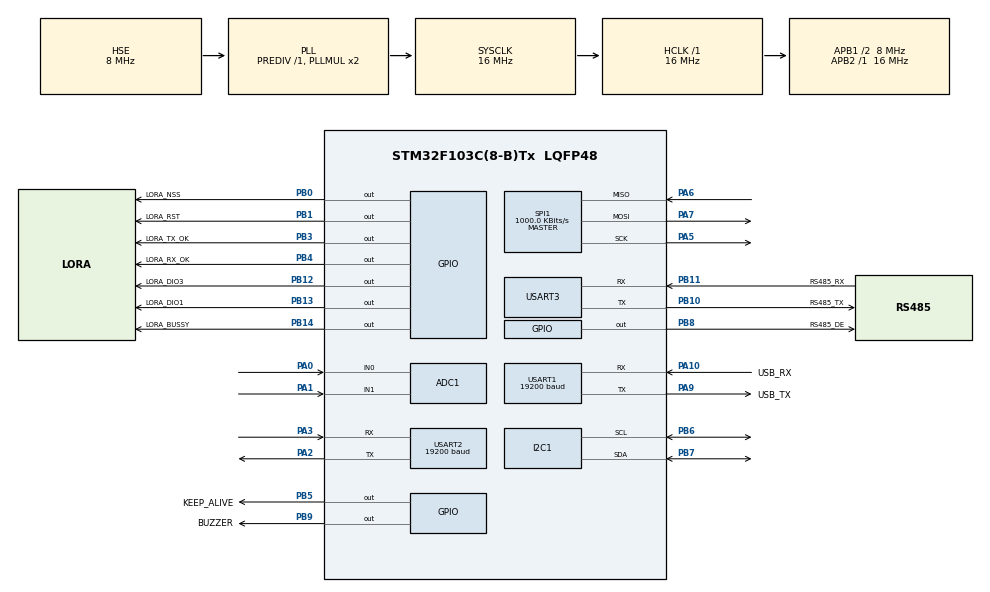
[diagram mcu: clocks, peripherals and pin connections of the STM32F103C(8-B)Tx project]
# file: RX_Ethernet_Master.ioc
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ADC1.Channel-0\#ChannelRegularConversion=ADC_CHANNEL_0
ADC1.Channel-1\#ChannelRegularConversion=ADC_CHANNEL_1
ADC1.Channel-2\#ChannelRegularConversion=ADC_CHANNEL_VREFINT
ADC1.Channel-4\#ChannelRegularConversion=ADC_CHANNEL_0
ADC1.ContinuousConvMode=DISABLE
ADC1.ExternalTrigConv=ADC_SOFTWARE_START
ADC1.NbrOfConversion=4
ADC1.NbrOfConversionFlag=1
ADC1.Rank-0\#ChannelRegularConversion=1
ADC1.Rank-1\#ChannelRegularConversion=2
ADC1.Rank-2\#ChannelRegularConversion=3
ADC1.Rank-4\#ChannelRegularConversion=4
ADC1.SamplingTime-0\#ChannelRegularConversion=ADC_SAMPLETIME_239CYCLES_5
ADC1.SamplingTime-1\#ChannelRegularConversion=ADC_SAMPLETIME_239CYCLES_5
ADC1.SamplingTime-2\#ChannelRegularConversion=ADC_SAMPLETIME_239CYCLES_5
ADC1.SamplingTime-4\#ChannelRegularConversion=ADC_SAMPLETIME_1CYCLE_5
ADC1.master=1
IWDG.Prescaler=IWDG_PRESCALER_32
IWDG.Reload=1875
Mcu.Family=STM32F1
Mcu.Name=STM32F103C(8-B)Tx
Mcu.Package=LQFP48
NVIC.PriorityGroup=NVIC_PRIORITYGROUP_4
NVIC.USART1_IRQn=true\:0\:0\:false\:false\:true\:true\:true\:true
PA0-WKUP.Signal=ADCx_IN0
PA1.Signal=ADCx_IN1
PA10.GPIO_Label=USB_RX
PA10.Mode=Asynchronous
PA10.Signal=USART1_RX
PA13.Mode=Serial_Wire
PA13.Signal=SYS_JTMS-SWDIO
PA14.Mode=Serial_Wire
PA14.Signal=SYS_JTCK-SWCLK
PA2.Mode=Asynchronous
PA2.Signal=USART2_TX
PA3.Mode=Asynchronous
PA3.Signal=USART2_RX
PA5.Mode=Full_Duplex_Master
PA5.Signal=SPI1_SCK
PA6.Mode=Full_Duplex_Master
PA6.Signal=SPI1_MISO
PA7.Mode=Full_Duplex_Master
PA7.Signal=SPI1_MOSI
PA9.GPIO_Label=USB_TX
PA9.Mode=Asynchronous
PA9.Signal=USART1_TX
PB0.GPIO_Label=LORA_NSS
PB0.Signal=GPIO_Output
PB1.GPIO_Label=LORA_RST
PB1.Signal=GPIO_Output
PB10.GPIO_Label=RS485_TX
PB10.Mode=Asynchronous
PB10.Signal=USART3_TX
PB11.GPIO_Label=RS485_RX
PB11.Mode=Asynchronous
PB11.Signal=USART3_RX
PB12.GPIO_Label=LORA_DIO3
PB12.Signal=GPIO_Output
PB13.GPIO_Label=LORA_DIO1
PB13.Signal=GPIO_Output
PB14.GPIO_Label=LORA_BUSSY
PB14.Signal=GPIO_Output
PB3.GPIO_Label=LORA_TX_OK
PB3.Signal=GPIO_Output
PB4.GPIO_Label=LORA_RX_OK
PB4.Signal=GPIO_Output
PB5.GPIO_Label=KEEP_ALIVE
PB5.Signal=GPIO_Output
PB6.Mode=I2C
PB6.Signal=I2C1_SCL
PB7.Mode=I2C
PB7.Signal=I2C1_SDA
PB8.GPIO_Label=RS485_DE
PB8.Signal=GPIO_Output
PB9.GPIO_Label=BUZZER
PB9.Signal=GPIO_Output
PD0-OSC_IN.Mode=HSE-External-Oscillator
PD0-OSC_IN.Signal=RCC_OSC_IN
PD1-OSC_OUT.Mode=HSE-External-Oscillator
PD1-OSC_OUT.Signal=RCC_OSC_OUT
ProjectManager.HeapSize=0x200
ProjectManager.StackSize=0x400
ProjectManager.TargetToolchain=STM32CubeIDE
RCC.AHBFreq_Value=16000000
RCC.APB1CLKDivider=RCC_HCLK_DIV2
RCC.APB1Freq_Value=8000000
RCC.APB1TimFreq_Value=16000000
RCC.APB2Freq_Value=16000000
RCC.APB2TimFreq_Value=16000000
RCC.HCLKFreq_Value=16000000
RCC.PLLSourceVirtual=RCC_PLLSOURCE_HSE
RCC.SYSCLKFreq_VALUE=16000000
RCC.SYSCLKSource=RCC_SYSCLKSOURCE_PLLCLK
RCC.USBFreq_Value=16000000
SH.ADCx_IN0.0=ADC1_IN0,IN0
SH.ADCx_IN1.0=ADC1_IN1,IN1
SPI1.BaudRatePrescaler=SPI_BAUDRATEPRESCALER_16
SPI1.CRCCalculation=SPI_CRCCALCULATION_DISABLE
SPI1.CalculateBaudRate=1000.0 KBits/s
SPI1.Direction=SPI_DIRECTION_2LINES
SPI1.Mode=SPI_MODE_MASTER
SPI1.VirtualType=VM_MASTER
USART1.BaudRate=19200
USART1.VirtualMode=VM_ASYNC
USART2.BaudRate=19200
USART2.VirtualMode=VM_ASYNC
USART3.VirtualMode=VM_ASYNC
VP_ADC1_TempSens_Input.Mode=IN-TempSens
VP_ADC1_Vref_Input.Mode=IN-Vrefint
VP_CRC_VS_CRC.Mode=CRC_Activate
VP_IWDG_VS_IWDG.Mode=IWDG_Activate
board=custom

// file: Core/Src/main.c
/* USER CODE BEGIN Header */
/**
 ******************************************************************************
 * @file           : main.c
 * @brief          : Main program body
 ******************************************************************************
 * @attention
 *
 * Copyright (c) 2022 STMicroelectronics.
 * All rights reserved.
 *
 * This software is licensed under terms that can be found in the LICENSE file
 * in the root directory of this software component.
 * If no LICENSE file comes with this software, it is provided AS-IS.
 *
 ******************************************************************************
 */
/* USER CODE END Header */
#include "main.h"

/* USER CODE BEGIN Includes */
#include "led.h"
#include "rs485.h"
#include "lm75.h"
#include "SX1278.h"
/* USER CODE END Includes */

/* USER CODE BEGIN PTD */
#define HS16_CLK 16000000
#define BAUD_RATE 115200
#define KEEP_ALIVE_INTERVAL 1000
#define KEEP_ALIVE_THRESHOLD 50
#define MCP3421_ADDRESS      0x68  // MCP3421 device address
#define MCP3421_GAIN_1    (0x00 << 0)
#define MCP3421_GAIN_2    (0x01 << 0)
#define MCP3421_GAIN_4    (0x02 << 0)
#define MCP3421_GAIN_8    (0x03 << 0)
#define MCP3421_240SPS    (0x00 << 2)
#define MCP3421_60SPS     (0x01 << 2)
#define MCP3421_15SPS     (0x02 << 2)
#define MCP3421_CONT_CONV (0x00 << 4)
#define ADC_CHANNELS_NUM 2
#define ADC_EXTRA_DATA 1
//#define IWDG_DEBUG

volatile uint16_t adcValues[ADC_CHANNELS_NUM + ADC_EXTRA_DATA];
//#define IWDG_DEBUG
/* USER CODE END PTD */

ADC_HandleTypeDef hadc1;

CRC_HandleTypeDef hcrc;

I2C_HandleTypeDef hi2c1;

IWDG_HandleTypeDef hiwdg;

SPI_HandleTypeDef hspi1;

UART_HandleTypeDef huart1;
UART_HandleTypeDef huart2;
UART_HandleTypeDef huart3;

void SystemClock_Config(void);
static void MX_GPIO_Init(void);
static void MX_I2C1_Init(void);
static void MX_SPI1_Init(void);
static void MX_USART1_UART_Init(void);
static void MX_USART2_UART_Init(void);
static void MX_USART3_UART_Init(void);
static void MX_ADC1_Init(void);
static void MX_CRC_Init(void);
static void MX_IWDG_Init(void);

/* USER CODE BEGIN 0 */
UART_tt *uart1_ptr;
UART_tt *uart2_ptr;
LED_t led;
RDSS_t *rdss;
UART_tt u1;
UART_tt u2;
Vlad_t *vlad;
SX1278_t *loRa;
Server_t *server;
uint8_t rxData;

void HAL_UART_RxCpltCallback(UART_HandleTypeDef *huart);
void HAL_SPI_TxCpltCallback(SPI_HandleTypeDef *hspi);
void HAL_SPI_RxCpltCallback(SPI_HandleTypeDef *hspi);
void print_parameters(UART_tt *u1, Vlad_t vlad);
void printStatus(UART_tt *u1, RDSS_t *rdss);
void printLoRaStatus(UART_tt *u1, SX1278_t *loRa);
uint8_t executeServerCmd(uint8_t *buffer, RDSS_t *rdss, SX1278_t *loRa,
		Server_t *server);
uint8_t executeCommand(uint8_t *buffer, RDSS_t *rdss, SX1278_t *loRa,
		Server_t *server);
void clearRx(UART_tt *u1);
void transmitRdssQuery(RDSS_t *rdss, SX1278_t *loRa);
void processServerCmd(UART_tt *u1, RDSS_t *rdss, SX1278_t *loRa,
		Server_t *server);
void processUartRx(UART_tt *u1, RDSS_t *rdss, Server_t *server, SX1278_t *loRa);
//void processUart2Rx(UART2_t *u2, RDSS_t *rdss, Server_t *server, SX1278_t *loRa);
void masterProcessRdss(RDSS_t *rdss);
void masterProcessLoRaRx(SX1278_t *loRa, RDSS_t *rdss, Vlad_t *vlad);
uint32_t enableKeepAliveLed(uint32_t keepAliveStartTicks);
void configureADC();
void calibrateADC();
void configureGPIO();
void startADCConversion(uint8_t channel);
uint16_t readADCChannel(uint8_t channel);
void updateMasterStatus(RDSS_t *rdss, volatile uint16_t *adcValues,
		uint32_t timeout);

/* USER CODE END 0 */

int main(void)
{
  /* USER CODE BEGIN 1 */

	uart1_ptr = &u1;
	uart2_ptr =&u2;
  /* USER CODE END 1 */

  /* MCU Configuration--------------------------------------------------------*/

  /* Reset of all peripherals, Initializes the Flash interface and the Systick. */
  HAL_Init();

  /* Configure the system clock */
  SystemClock_Config();

  /* Initialize all configured peripherals */
  MX_GPIO_Init();
  MX_I2C1_Init();
  MX_SPI1_Init();
  MX_USART1_UART_Init();
  MX_USART2_UART_Init();
  MX_USART3_UART_Init();
  MX_ADC1_Init();
  MX_CRC_Init();
  //MX_IWDG_Init();
  /* USER CODE BEGIN 2 */
	HAL_GPIO_WritePin(KEEP_ALIVE_GPIO_Port, KEEP_ALIVE_Pin, GPIO_PIN_SET);
	HAL_Delay(1000);
	HAL_GPIO_WritePin(KEEP_ALIVE_GPIO_Port, LORA_TX_OK_Pin, GPIO_PIN_SET);
	HAL_Delay(1000);
	HAL_GPIO_WritePin(KEEP_ALIVE_GPIO_Port, LORA_RX_OK_Pin, GPIO_PIN_SET);
	HAL_Delay(1000);
	vlad = vladInit(SERVER);
	server = serverInit(SERVER);
	ledInit(&led);
	rdss = rdssInit(0);
	loRa = loRaInit(&hspi1, MASTER_RECEIVER);
	if(loRa == NULL)
		Error_Handler();

	lm75_init();
	HAL_NVIC_SetPriority(USART1_IRQn, 0, 0);
	HAL_NVIC_EnableIRQ(USART1_IRQn);
	HAL_UART_Receive_IT(&huart1, &rxData, 1);
	HAL_UART_Receive_IT(&huart2, &rxData, 1);//TODO: Para búsqueda

	configureGPIO();
	configureADC();
	calibrateADC();
	uint32_t keepAliveStartTicks = HAL_GetTick();
	rdss->lastUpdateTicks = HAL_GetTick();
#ifdef IWDG_DEBUG
	HAL_IWDG_Refresh(&hiwdg);
#endif
  /* USER CODE END 2 */

  /* Infinite loop */
  /* USER CODE BEGIN WHILE */
	while (1) {
		adcValues[0] = readADCChannel(0);
		adcValues[1] = readADCChannel(1);
		adcValues[2] = lm75_read();
		updateMasterStatus(rdss, adcValues, 5000);
		processUartRx(&u1, rdss, server, loRa); // TODO: Para búsqueda
		//processUartRx(&u2, rdss, server, loRa);
		configureLoRaRx(loRa, MASTER_RECEIVER);
		masterProcessLoRaRx(loRa, rdss, vlad);

#ifdef IWDG_DEBUG
		HAL_IWDG_Refresh(&hiwdg);
#endif
		keepAliveStartTicks = enableKeepAliveLed(keepAliveStartTicks);
	}
    /* USER CODE END WHILE */

}

void SystemClock_Config(void)
{
  RCC_OscInitTypeDef RCC_OscInitStruct = {0};
  RCC_ClkInitTypeDef RCC_ClkInitStruct = {0};
  RCC_PeriphCLKInitTypeDef PeriphClkInit = {0};

  /** Initializes the RCC Oscillators according to the specified parameters
  * in the RCC_OscInitTypeDef structure.
  */
  RCC_OscInitStruct.OscillatorType = RCC_OSCILLATORTYPE_LSI|RCC_OSCILLATORTYPE_HSE;
  RCC_OscInitStruct.HSEState = RCC_HSE_ON;
  RCC_OscInitStruct.HSEPredivValue = RCC_HSE_PREDIV_DIV1;
  RCC_OscInitStruct.HSIState = RCC_HSI_ON;
  RCC_OscInitStruct.LSIState = RCC_LSI_ON;
  RCC_OscInitStruct.PLL.PLLState = RCC_PLL_ON;
  RCC_OscInitStruct.PLL.PLLSource = RCC_PLLSOURCE_HSE;
  RCC_OscInitStruct.PLL.PLLMUL = RCC_PLL_MUL2;
  if (HAL_RCC_OscConfig(&RCC_OscInitStruct) != HAL_OK)
  {
    Error_Handler();
  }

  /** Initializes the CPU, AHB and APB buses clocks
  */
  RCC_ClkInitStruct.ClockType = RCC_CLOCKTYPE_HCLK|RCC_CLOCKTYPE_SYSCLK
                              |RCC_CLOCKTYPE_PCLK1|RCC_CLOCKTYPE_PCLK2;
  RCC_ClkInitStruct.SYSCLKSource = RCC_SYSCLKSOURCE_PLLCLK;
  RCC_ClkInitStruct.AHBCLKDivider = RCC_SYSCLK_DIV1;
  RCC_ClkInitStruct.APB1CLKDivider = RCC_HCLK_DIV2;
  RCC_ClkInitStruct.APB2CLKDivider = RCC_HCLK_DIV1;

  if (HAL_RCC_ClockConfig(&RCC_ClkInitStruct, FLASH_LATENCY_0) != HAL_OK)
  {
    Error_Handler();
  }
  PeriphClkInit.PeriphClockSelection = RCC_PERIPHCLK_ADC;
  PeriphClkInit.AdcClockSelection = RCC_ADCPCLK2_DIV2;
  if (HAL_RCCEx_PeriphCLKConfig(&PeriphClkInit) != HAL_OK)
  {
    Error_Handler();
  }
}

static void MX_ADC1_Init(void)
{

  ADC_ChannelConfTypeDef sConfig = {0};

  /** Common config
  */
  hadc1.Instance = ADC1;
  hadc1.Init.ScanConvMode = ADC_SCAN_ENABLE;
  hadc1.Init.ContinuousConvMode = DISABLE;
  hadc1.Init.DiscontinuousConvMode = DISABLE;
  hadc1.Init.ExternalTrigConv = ADC_SOFTWARE_START;
  hadc1.Init.DataAlign = ADC_DATAALIGN_RIGHT;
  hadc1.Init.NbrOfConversion = 4;
  if (HAL_ADC_Init(&hadc1) != HAL_OK)
  {
    Error_Handler();
  }

  /** Configure Regular Channel
  */
  sConfig.Channel = ADC_CHANNEL_0;
  sConfig.Rank = ADC_REGULAR_RANK_1;
  sConfig.SamplingTime = ADC_SAMPLETIME_239CYCLES_5;
  if (HAL_ADC_ConfigChannel(&hadc1, &sConfig) != HAL_OK)
  {
    Error_Handler();
  }

  /** Configure Regular Channel
  */
  sConfig.Channel = ADC_CHANNEL_1;
  sConfig.Rank = ADC_REGULAR_RANK_2;
  if (HAL_ADC_ConfigChannel(&hadc1, &sConfig) != HAL_OK)
  {
    Error_Handler();
  }

  /** Configure Regular Channel
  */
  sConfig.Channel = ADC_CHANNEL_VREFINT;
  sConfig.Rank = ADC_REGULAR_RANK_3;
  if (HAL_ADC_ConfigChannel(&hadc1, &sConfig) != HAL_OK)
  {
    Error_Handler();
  }

  /** Configure Regular Channel
  */
  sConfig.Channel = ADC_CHANNEL_0;
  sConfig.Rank = ADC_REGULAR_RANK_4;
  sConfig.SamplingTime = ADC_SAMPLETIME_1CYCLE_5;
  if (HAL_ADC_ConfigChannel(&hadc1, &sConfig) != HAL_OK)
  {
    Error_Handler();
  }

}

static void MX_CRC_Init(void)
{

  hcrc.Instance = CRC;
  if (HAL_CRC_Init(&hcrc) != HAL_OK)
  {
    Error_Handler();
  }

}

static void MX_I2C1_Init(void)
{

  hi2c1.Instance = I2C1;
  hi2c1.Init.ClockSpeed = 100000;
  hi2c1.Init.DutyCycle = I2C_DUTYCYCLE_2;
  hi2c1.Init.OwnAddress1 = 0;
  hi2c1.Init.AddressingMode = I2C_ADDRESSINGMODE_7BIT;
  hi2c1.Init.DualAddressMode = I2C_DUALADDRESS_DISABLE;
  hi2c1.Init.OwnAddress2 = 0;
  hi2c1.Init.GeneralCallMode = I2C_GENERALCALL_DISABLE;
  hi2c1.Init.NoStretchMode = I2C_NOSTRETCH_DISABLE;
  if (HAL_I2C_Init(&hi2c1) != HAL_OK)
  {
    Error_Handler();
  }

}

static void MX_IWDG_Init(void)
{

  hiwdg.Instance = IWDG;
  hiwdg.Init.Prescaler = IWDG_PRESCALER_32;
  hiwdg.Init.Reload = 1875;
  if (HAL_IWDG_Init(&hiwdg) != HAL_OK)
  {
    Error_Handler();
  }

}

static void MX_SPI1_Init(void)
{

  /* SPI1 parameter configuration*/
  hspi1.Instance = SPI1;
  hspi1.Init.Mode = SPI_MODE_MASTER;
  hspi1.Init.Direction = SPI_DIRECTION_2LINES;
  hspi1.Init.DataSize = SPI_DATASIZE_8BIT;
  hspi1.Init.CLKPolarity = SPI_POLARITY_LOW;
  hspi1.Init.CLKPhase = SPI_PHASE_1EDGE;
  hspi1.Init.NSS = SPI_NSS_SOFT;
  hspi1.Init.BaudRatePrescaler = SPI_BAUDRATEPRESCALER_16;
  hspi1.Init.FirstBit = SPI_FIRSTBIT_MSB;
  hspi1.Init.TIMode = SPI_TIMODE_DISABLE;
  hspi1.Init.CRCCalculation = SPI_CRCCALCULATION_DISABLE;
  hspi1.Init.CRCPolynomial = 10;
  if (HAL_SPI_Init(&hspi1) != HAL_OK)
  {
    Error_Handler();
  }

}

static void MX_USART1_UART_Init(void)
{

  huart1.Instance = USART1;
  huart1.Init.BaudRate = 19200;
  huart1.Init.WordLength = UART_WORDLENGTH_8B;
  huart1.Init.StopBits = UART_STOPBITS_1;
  huart1.Init.Parity = UART_PARITY_NONE;
  huart1.Init.Mode = UART_MODE_TX_RX;
  huart1.Init.HwFlowCtl = UART_HWCONTROL_NONE;
  huart1.Init.OverSampling = UART_OVERSAMPLING_16;
  if (HAL_UART_Init(&huart1) != HAL_OK)
  {
    Error_Handler();
  }

}

static void MX_USART2_UART_Init(void)
{

  huart2.Instance = USART2;
  huart2.Init.BaudRate = 19200;
  huart2.Init.WordLength = UART_WORDLENGTH_8B;
  huart2.Init.StopBits = UART_STOPBITS_1;
  huart2.Init.Parity = UART_PARITY_NONE;
  huart2.Init.Mode = UART_MODE_TX_RX;
  huart2.Init.HwFlowCtl = UART_HWCONTROL_NONE;
  huart2.Init.OverSampling = UART_OVERSAMPLING_16;
  if (HAL_UART_Init(&huart2) != HAL_OK)
  {
    Error_Handler();
  }

}

static void MX_USART3_UART_Init(void)
{

  huart3.Instance = USART3;
  huart3.Init.BaudRate = 115200;
  huart3.Init.WordLength = UART_WORDLENGTH_8B;
  huart3.Init.StopBits = UART_STOPBITS_1;
  huart3.Init.Parity = UART_PARITY_NONE;
  huart3.Init.Mode = UART_MODE_TX_RX;
  huart3.Init.HwFlowCtl = UART_HWCONTROL_NONE;
  huart3.Init.OverSampling = UART_OVERSAMPLING_16;
  if (HAL_UART_Init(&huart3) != HAL_OK)
  {
    Error_Handler();
  }

}

static void MX_GPIO_Init(void)
{
  GPIO_InitTypeDef GPIO_InitStruct = {0};

  /* GPIO Ports Clock Enable */
  __HAL_RCC_GPIOD_CLK_ENABLE();
  __HAL_RCC_GPIOA_CLK_ENABLE();
  __HAL_RCC_GPIOB_CLK_ENABLE();

  /*Configure GPIO pin Output Level */
  HAL_GPIO_WritePin(GPIOB, LORA_NSS_Pin|LORA_RST_Pin|LORA_DIO3_Pin|LORA_DIO1_Pin
                          |LORA_BUSSY_Pin|LORA_TX_OK_Pin|LORA_RX_OK_Pin|KEEP_ALIVE_Pin
                          |RS485_DE_Pin|BUZZER_Pin, GPIO_PIN_RESET);

  /*Configure GPIO pins : LORA_NSS_Pin LORA_RST_Pin LORA_DIO3_Pin LORA_DIO1_Pin
                           LORA_BUSSY_Pin LORA_TX_OK_Pin LORA_RX_OK_Pin KEEP_ALIVE_Pin
                           RS485_DE_Pin BUZZER_Pin */
  GPIO_InitStruct.Pin = LORA_NSS_Pin|LORA_RST_Pin|LORA_DIO3_Pin|LORA_DIO1_Pin
                          |LORA_BUSSY_Pin|LORA_TX_OK_Pin|LORA_RX_OK_Pin|KEEP_ALIVE_Pin
                          |RS485_DE_Pin|BUZZER_Pin;
  GPIO_InitStruct.Mode = GPIO_MODE_OUTPUT_PP;
  GPIO_InitStruct.Pull = GPIO_NOPULL;
  GPIO_InitStruct.Speed = GPIO_SPEED_FREQ_LOW;
  HAL_GPIO_Init(GPIOB, &GPIO_InitStruct);

}

/* USER CODE BEGIN 4 */
void HAL_UART_RxCpltCallback(UART_HandleTypeDef *huart) { //TODO: Callback

	if (huart-> Instance == USART1){/* Read received data from UART1 */
			if (uart1_ptr->rxSize >= UART_RX_BUFFLEN) {
				cleanRx(uart1_ptr);
				uart1_ptr->rxSize = 0;
			}

			uart1_ptr->rxData[uart1_ptr->rxSize++] = rxData;

			if (rxData == RDSS_END_MARK)
				uart1_ptr->isReceivedDataReady = true;

			HAL_UART_Receive_IT(&huart1, &rxData, 1);
	}
	else if(huart->Instance == USART2){ /* Read received data from UART2 */
			if (uart2_ptr->rxSize >= UART_RX_BUFFLEN) {
				cleanRx(uart2_ptr);
				uart2_ptr->rxSize = 0;
			}

			uart2_ptr->rxData[uart2_ptr->rxSize++] = rxData;

			if (rxData == RDSS_END_MARK)
				uart2_ptr->isReceivedDataReady = true;

			HAL_UART_Receive_IT(&huart2, &rxData, 1);
		}

}

void HAL_SPI_TxCpltCallback(SPI_HandleTypeDef *hspi) {
	printf("SPI TX Done .. Do Something ...");
}

void HAL_SPI_RxCpltCallback(SPI_HandleTypeDef *hspi) {
	printf("SPI RX Done .. Do Something ...");
}

uint8_t executeServerCmd(uint8_t *buffer, RDSS_t *rdss, SX1278_t *loRa,
		Server_t *server) {
	uint8_t index = 0;
	HAL_StatusTypeDef res;

	if (rdss->buffSize < LTEL_QUERY_LENGTH || rdss->buffSize > LTEL_SET_LENGTH)
		return 0;

	index = setRdssStartData(rdss, buffer, server->function);

	switch (rdss->cmd) {
	case QUERY_STATUS:
//		index += encodeVladToLtel(buffer + index, vlad);
		index = 0;
		break;
	case QUERY_RX_FREQ:
		buffer[index++] = 4;
		freqEncode(buffer + index, loRa->upFreq);
		index += sizeof(loRa->upFreq);
		index++;
		break;
	case QUERY_TX_FREQ:
		buffer[index++] = 4;
		freqEncode(buffer + index, loRa->dlFreq);
		index += sizeof(loRa->dlFreq);
		index++;
		break;
	case QUERY_SPREAD_FACTOR:
		buffer[index++] = 1;
		buffer[index++] = loRa->spreadFactor - 6;
		break;
	case QUERY_CODING_RATE:
		buffer[index++] = 1;
		buffer[index++] = loRa->codingRate;
		break;
	case QUERY_BANDWIDTH:
		buffer[index++] = 1;
		buffer[index++] = loRa->bandwidth + 1;
		break;
	case QUERY_MODULE_ID:
		index = 0;
		buffer[index++] = RDSS_START_MARK;
		buffer[index++] = server->function;
		buffer[index++] = rdss->id;
		buffer[index++] = QUERY_MODULE_ID;
		buffer[index++] = 0x00;
		buffer[index++] = 2;
		buffer[index++] = server->function;
		buffer[index++] = rdss->id;
		break;
	case SET_MODULE_ID:
		server->function = rdss->buff[6];
		server->id = rdss->buff[7];
		rdss->id = server->id;
		index = setRdssStartData(rdss, buffer, server->function);
		buffer[index++] = SERVER;
		buffer[index++] = rdss->id;
		HAL_savePage(M24C64_PAGE0, (uint8_t*) &(vlad->function), 3, 1);
		HAL_savePage(M24C64_PAGE0, (uint8_t*) &(vlad->id), 4, 1);
		break;
	case SET_TX_FREQ:
		buffer[index++] = 4;
		loRa->dlFreq = freqDecode(rdss->buff + index);
		index += sizeof(loRa->dlFreq);
		res = HAL_savePage(M24C64_PAGE1, (uint8_t*) &(loRa->dlFreq), 0, 4);
		changeMode(loRa, loRa->mode);
		writeLoRaParametersReg(loRa);
		break;
	case SET_RX_FREQ:
		buffer[index++] = 4;
		loRa->upFreq = freqDecode(rdss->buff + index);
		index += sizeof(loRa->upFreq);
		res = HAL_savePage(M24C64_PAGE1, (uint8_t*) &(loRa->upFreq), 4, 4);
		changeMode(loRa, loRa->mode);
		writeLoRaParametersReg(loRa);
		break;
	case SET_BANDWIDTH:
		buffer[index++] = 1;
		loRa->bandwidth = rdss->buff[index++] - 1;
		res = HAL_savePage(M24C64_PAGE0, &(loRa->bandwidth), 1, 1);
		changeMode(loRa, loRa->mode);
		writeLoRaParametersReg(loRa);
		break;
	case SET_SPREAD_FACTOR:
		buffer[index++] = 1;
		loRa->spreadFactor = rdss->buff[index++] + 6;
		res = HAL_savePage(M24C64_PAGE0, &(loRa->spreadFactor), 0, 1);
		changeMode(loRa, loRa->mode);
		writeLoRaParametersReg(loRa);
		break;
	case SET_CODING_RATE:
		buffer[index++] = 1;
		loRa->codingRate = rdss->buff[index++];
		res = HAL_savePage(M24C64_PAGE0, &(loRa->codingRate), 2, 1);
		changeMode(loRa, loRa->mode);
		writeLoRaParametersReg(loRa);
		break;

	default:
		break;
	}

	index += setCrc(buffer, index);
	buffer[index++] = RDSS_END_MARK;
	rdss->status = UART_SEND;
	return index;
}

void print_parameters(UART_tt *u1, Vlad_t vlad) {
	if (!u1->isDebugModeEnabled)
		return;

	char *buff = (char*) u1->txData;
	u1->txSize = (uint8_t) sprintf(buff, "vin %d [V]\r\n", vlad.vin);
	writeTx(u1);
	u1->txSize = (uint8_t) sprintf(buff, "current real %d [A]\r\n",
			(uint8_t) vlad.currentReal);
	writeTx(u1);
	u1->txSize = (uint8_t) sprintf(buff, "tone level %d[dBm]\r\n",
			vlad.tone_level);
	writeTx(u1);
	u1->txSize = (uint8_t) sprintf(buff, "current %d[A]\r\n", vlad.current);
	writeTx(u1);
	u1->txSize = (uint8_t) sprintf(buff, "agc150m %d[dBm]\r\n", vlad.agc152m);
	writeTx(u1);
	u1->txSize = (uint8_t) sprintf(buff, "level150m %d[dBm]\r\n",
			vlad.level152m);
	writeTx(u1);
	u1->txSize = (uint8_t) sprintf(buff, "agc170m %d[dBm]\r\n", vlad.agc172m);
	writeTx(u1);
	u1->txSize = (uint8_t) sprintf(buff, "level170m %d[dBm]\r\n",
			vlad.level172m);
	writeTx(u1);
	cleanTx(u1);
}

void printStatus(UART_tt *u1, RDSS_t *rdss) {

	if (!u1->isDebugModeEnabled)
		return;

	char *str = (char*) u1->txData;
	uint8_t i = 0;
	switch (rdss->status) {
	case CRC_ERROR:

		u1->txSize = (uint8_t) sprintf(str, "CRC mismatch:\r\n");
		writeTx(u1);
		u1->txSize = 0;
		break;
	case WRONG_MODULE_ID:
		u1->txSize = (uint8_t) sprintf(str,
				"ID mismatch - ID %d and ID received %d \r\n", rdss->id,
				rdss->idReceived);
		writeTx(u1);
		u1->txSize = 0;
		break;
	case NOT_VALID_FRAME:
		u1->txSize = (uint8_t) sprintf(str, "Not valid start byte \r\n");
		writeTx(u1);
		u1->txSize = 0;
		break;
	case DATA_OK:
		u1->txSize = (uint8_t) sprintf(str,
				"Validation ok: ID %02x Cmd %02x Bytes %d Data \r\n",
				rdss->buff[2], rdss->buff[3], rdss->buff[5]);
		writeTx(u1);
		for (int i = DATA_START_INDEX; i < rdss->buff[5]; i++) {
			if (i > 250)
				break;
			u1->txSize = (uint8_t) sprintf(str, "%02X", rdss->buff[i]);
			writeTx(u1);
		}
		writeTxReg('\n');
		break;
	case WAITING:
		u1->txSize = (uint8_t) sprintf(str, "Waiting for new data\r\n");
		writeTx(u1);
		u1->txSize = 0;
		break;
	case LORA_SEND:
		u1->txSize = (uint8_t) sprintf(str, "Send uart data to loRa ID: %d\r\n",
				rdss->idReceived);
		writeTx(u1);
		u1->txSize = 0;
		break;
	case LORA_RECEIVE:
		u1->txSize = (uint8_t) sprintf(str,
				"Validation ok: ID %02x Cmd %02x Bytes %d Data \r\n",
				rdss->buff[2], rdss->buff[3], rdss->buff[5]);
		writeTx(u1);
		for (i = DATA_START_INDEX; i < rdss->buff[5]; i++) {
			if (i > 250)
				break;
			u1->txSize = (uint8_t) sprintf(str, "%02X", rdss->buff[i]);
			writeTx(u1);
		}
		if (i > DATA_START_INDEX)
			writeTxReg('\n');
		u1->txSize = 0;
		break;
	case UART_SEND:
		u1->txSize = (uint8_t) sprintf(str, "Reply vlad data: %d\r\n",
				rdss->idReceived);
		writeTx(u1);
		for (i = 0; i < rdss->buffSize; i++) {
			if (i > 250)
				break;
			u1->txSize = (uint8_t) sprintf(str, "%02X", rdss->buff[i]);
			writeTx(u1);
		}
		if (i > 0)
			writeTxReg('\n');
		u1->txSize = 0;
		break;
	case UART_VALID:
		u1->txSize = (uint8_t) sprintf(str,
				"Validation ok: ID %02x Cmd %02x Bytes %d Data \r\n",
				rdss->buff[2], rdss->buff[3], rdss->buff[5]);
		writeTx(u1);
		for (int i = DATA_START_INDEX; i < rdss->buff[5]; i++) {
			if (i > 250)
				break;
			u1->txSize = (uint8_t) sprintf(str, "%02X", rdss->buff[i]);
			writeTx(u1);
		}
		if (i > DATA_START_INDEX)
			writeTxReg('\n');
		u1->txSize = 0;
		break;
	default:
		break;

	}
	cleanTx(u1);

}

void printLoRaStatus(UART_tt *u1, SX1278_t *loRa) {
	if (!u1->isDebugModeEnabled) {
		return;
	}

	char *str = (char*) u1->txData;

	switch (loRa->status) {
	case TX_TIMEOUT:
		u1->txSize = (uint8_t) sprintf(str,
				"Transmission Fail: %d seconds Timeout\r\n", TX_TIMEOUT / 1000);
		writeTx(u1);
		break;
	case TX_DONE:
		u1->txSize = (uint8_t) sprintf(str, "Transmission Done: %lu ms\r\n",
				loRa->lastTxTime);
		writeTx(u1);
		break;
	case TX_BUFFER_READY:
		u1->txSize = (uint8_t) sprintf(str,
				"Transmission Buffer: %d bytes data \r\n", loRa->txSize);
		writeTx(u1);
		for (int i = 0; i < loRa->txSize; i++) {
			u1->txSize = (uint8_t) sprintf(str, "%02X", loRa->txData[i]);
			writeTx(u1);
		}
		writeTxReg('\n');
		break;
	case TX_MODE:
		u1->txSize = (uint8_t) sprintf(str, "%s Mode\r\n",
				(loRa->mode == MASTER_SENDER) ? "Master Sender" :
				(loRa->mode == SLAVE_SENDER) ? "Slave Sender" : "Unknown");
		writeTx(u1);
		break;
	case RX_DONE:
		u1->txSize = (uint8_t) sprintf(str, "Reception Done: %d bytes\r\n",
				loRa->rxSize);
		writeTx(u1);
		for (int i = 0; i < loRa->rxSize; i++) {
			u1->txSize = (uint8_t) sprintf(str, "%02X", loRa->rxData[i]);
			writeTx(u1);
		}
		if (loRa->txSize > 0) {
			writeTxReg('\n');
		}
		break;
	case RX_MODE:
		u1->txSize = (uint8_t) sprintf(str, "%s Mode\r\n",
				(loRa->mode == MASTER_RECEIVER) ? "Master Receiver" :
				(loRa->mode == SLAVE_RECEIVER) ? "Slave Receiver" : "Unknown");
		writeTx(u1);
		break;
	case CRC_ERROR_ACTIVATION:
		u1->txSize = (uint8_t) sprintf(str,
				"Reception Fail: CRC error activation\r\n");
		writeTx(u1);
		break;
	default:
		break;
	}
	cleanTx(u1);
}

void clearRx(UART_tt *u1) {
	memset(u1->rxData, 0, sizeof(u1->rxData));
	u1->rxSize = 0;
}

void transmitRdssQuery(RDSS_t *rdss, SX1278_t *loRa) {

	rdss->idQuery = rdss->idReceived;
	loRa->txData = rdss->buff;
	loRa->txSize = rdss->buffSize;

	changeMode(loRa, MASTER_SENDER);
	transmit(loRa);
	if (loRa->status == TX_DONE)
		HAL_GPIO_WritePin(LORA_TX_OK_GPIO_Port, LORA_TX_OK_Pin, GPIO_PIN_SET);
	uint32_t timeStart = HAL_GetTick();
	changeMode(loRa, MASTER_RECEIVER);
	HAL_GPIO_WritePin(LORA_TX_OK_GPIO_Port, LORA_TX_OK_Pin, GPIO_PIN_RESET);
	loRa->lastChangeMode = HAL_GetTick() - timeStart;
}

void processServerCmd(UART_tt *u1, RDSS_t *rdss, SX1278_t *loRa,
		Server_t *server) {
	if (rdss->cmd == QUERY_MASTER_STATUS) {
		for (uint8_t i = 0; i < 15; i++)
			writeTxReg(rdss->queryBuffer[i]);
	} else {
		u1->txData = malloc(sizeof(uint8_t) * 25);
		u1->txSize = executeServerCmd(u1->txData, rdss, loRa, server);

		for (uint8_t i = 0; i < u1->txSize; i++)
			writeTxReg(u1->txData[i]);
		u1->txSize = 0;
		free(u1->txData);
	}
}

void processUartRx(UART_tt *u1, RDSS_t *rdss, Server_t *server, SX1278_t *loRa) {//Todo Procesamiento Uart
	if (u1->isReceivedDataReady == false)
		return;
	u1->isReceivedDataReady = false;
	//HAL_Delay(1);
	if (validate(u1->rxData, u1->rxSize) != DATA_OK) {
		memset(u1->rxData, 0, sizeof(u1->rxData));
		u1->rxSize = 0;
		return;
	}
	updateRdss(rdss, u1->rxData, u1->rxSize);
	if (rdss->idReceived == rdss->id) {
		processServerCmd(u1, rdss, loRa, server);
	} else if (rdss->cmd != 0) {
		transmitRdssQuery(rdss, loRa);
	}

	clearRx(u1);
	rdssReinit(rdss);
}

int isEnumValue(Rs485_cmd_t value) {
	switch (value) {
	case NONE:
	case QUERY_MODULE_ID:
	case QUERY_STATUS:
	case SET_VLAD_ATTENUATION:
	case QUERY_MASTER_STATUS:
	case QUERY_TX_FREQ:
	case QUERY_RX_FREQ:
	case QUERY_UART_BAUDRATE:
	case QUERY_BANDWIDTH:
	case QUERY_SPREAD_FACTOR:
	case QUERY_CODING_RATE:
	case SET_MODULE_ID:
	case SET_TX_FREQ:
	case SET_RX_FREQ:
	case SET_UART_BAUDRATE:
	case SET_BANDWIDTH:
	case SET_SPREAD_FACTOR:
	case SET_CODING_RATE:
	case SET_OUT:
	case SET_AOUT_0_10V:
	case SET_AOUT_4_20mA:
	case SET_AOUT_0_20mA:
	case SET_DOUT1:
	case SET_VLAD_MODE:
	case SET_PARAMETER_FREQOUT:
	case SET_PARAMETERS:
	case SET_PARAMETER_FREQBASE:
	case QUERY_PARAMETER_PdBm:
		return 1;
	default:
		return 0;
	}
}
void masterProcessRdss(RDSS_t *rdss) {
	uint8_t error[] = { 0xff, 0xff, 0xff, 0xff };
	switch (loRa->rxData[CMD_INDEX]) {
	case NONE:
	case QUERY_MODULE_ID:
	case QUERY_STATUS:
	case SET_VLAD_ATTENUATION:
	case QUERY_MASTER_STATUS:
	case QUERY_TX_FREQ:
	case QUERY_RX_FREQ:
	case QUERY_UART_BAUDRATE:
	case QUERY_BANDWIDTH:
	case QUERY_SPREAD_FACTOR:
	case QUERY_CODING_RATE:
	case SET_MODULE_ID:
	case SET_TX_FREQ:
	case SET_RX_FREQ:
	case SET_UART_BAUDRATE:
	case SET_BANDWIDTH:
	case SET_SPREAD_FACTOR:
	case SET_CODING_RATE:
	case SET_AOUT_0_10V:
	case SET_AOUT_4_20mA:
	case SET_AOUT_0_20mA:
	case SET_DOUT1:
	case SET_VLAD_MODE:
	case SET_PARAMETER_FREQOUT:
	case SET_PARAMETERS:
	case SET_PARAMETER_FREQBASE:
	case QUERY_PARAMETER_PdBm:
	case QUERY_UART1:
		for (uint8_t i = 0; i < rdss->buffSize; i++)
			writeTxReg(rdss->buff[i]);
		break;

	case SET_OUT:
		for (uint8_t i = 0; i < rdss->buffSize; i++)
			writeTxReg(rdss->buff[i]);
		break;

	case QUERY_ETH:
		for (uint8_t i = 0; i < loRa->rxSize; i++)
			writeTxReg(loRa->rxData[i]);
		break;
		/*
		for (uint8_t i = 0; i < (loRa->rxData[DATA_LENGHT1_INDEX]); i++)
			writeTxReg_uart2(loRa->rxData[DATA_START_INDEX + i]);
		break;
        */
	default:
		for (uint8_t i = 0; i < sizeof(error); i++)
			writeTxReg(error[i]);
		break;
	}
}

void masterProcessLoRaRx(SX1278_t *loRa, RDSS_t *rdss, Vlad_t *vlad) {

	    if (HAL_GPIO_ReadPin(LORA_BUSSY_GPIO_Port,
	    LORA_BUSSY_Pin) == GPIO_PIN_RESET){
	        clearIrqFlagsReg(loRa); // Retrieve data from the receive FIFO
	        memset(loRa->rxData, 0, loRa->rxSize);
	        return; // if (crcErrorActivation(loRa) != 1)
	    }

	    getRxFifoData(loRa);

	    if (loRa->rxData < 0){
	        clearIrqFlagsReg(loRa); // Retrieve data from the receive FIFO
	        setRxFifoAddr(loRa);
	        memset(loRa->rxData, 0, 300);
	        return;
	    }

	    if (validate(loRa->rxData, loRa->rxSize) != DATA_OK){
	        clearIrqFlagsReg(loRa); // Retrieve data from the receive FIFO
	        setRxFifoAddr(loRa);
	        memset(loRa->rxData, 0, 300);
	        return;
	    }

	    updateRdss(rdss, loRa->rxData, loRa->rxSize);
	    HAL_GPIO_WritePin(LORA_RX_OK_GPIO_Port, LORA_RX_OK_Pin, GPIO_PIN_SET);

	    /*
	    if (rdss->idReceived != rdss->idQuery) {
	        rdss->status = WRONG_MODULE_ID;
	        clearIrqFlagsReg(loRa); // Retrieve data from the receive FIFO
	        return;
	    }
	    */

	    masterProcessRdss(rdss);
	    rdssReinit(rdss);
	    loRa->rxSize = 0;
	    setLoRaLowFreqModeReg(loRa, SLEEP);
	    uint8_t addr = 0;
	    writeRegister(loRa->spi, LR_RegFifoAddrPtr, &addr, 1);
	    HAL_GPIO_WritePin(LORA_RX_OK_GPIO_Port, LORA_RX_OK_Pin, GPIO_PIN_RESET);
	    clearIrqFlagsReg(loRa); // Retrieve data from the receive FIFO
	    memset(loRa->rxData, 0, 300);
	    setRxFifoAddr(loRa);
}

uint32_t enableKeepAliveLed(uint32_t keepAliveStartTicks) {
	if (HAL_GetTick() - keepAliveStartTicks > 1000) {
		keepAliveStartTicks = HAL_GetTick();
		HAL_GPIO_WritePin(KEEP_ALIVE_GPIO_Port, KEEP_ALIVE_Pin, GPIO_PIN_SET);
	} else if (HAL_GetTick() - keepAliveStartTicks > 50)
		HAL_GPIO_WritePin(KEEP_ALIVE_GPIO_Port, KEEP_ALIVE_Pin, GPIO_PIN_RESET);

	return keepAliveStartTicks;
}

void configureADC() {
	// Enable ADC clock
	RCC->APB2ENR |= RCC_APB2ENR_ADC1EN;

	// Enable GPIOA clock
	RCC->APB2ENR |= RCC_APB2ENR_IOPAEN;

	// Enable SWSTART
	ADC1->CR2 |= ADC_CR2_EXTTRIG | ADC_CR2_EXTSEL; // Set external trigger and trigger source

	// Enable ADC temperature sensor and Vrefint channels
	ADC1->CR2 |= ADC_CR2_TSVREFE;
	// Enable ADC1
	ADC1->CR2 |= ADC_CR2_ADON;
	// Enable ADC interrupt
//	NVIC_EnableIRQ(ADC1_IRQn);
}

void calibrateADC() {
	// Start ADC calibration
	ADC1->CR2 |= ADC_CR2_CAL;

	// Wait for calibration to complete
	while (ADC1->CR2 & ADC_CR2_CAL) {
	}
}

void configureGPIO() {
	// Enable GPIOA clock
	RCC->APB2ENR |= RCC_APB2ENR_IOPAEN;

	// Configure PA0 and PA11 as analog input mode
	GPIOA->CRL &= ~(GPIO_CRL_CNF0 | GPIO_CRL_MODE0);
	GPIOA->CRH &= ~(GPIO_CRH_CNF11 | GPIO_CRH_MODE11);
}

void startADCConversion(uint8_t channel) {
	// Clear previous channel selection
	ADC1->SQR3 &= ~ADC_SQR3_SQ1_Msk;

	// Set new channel selection
	ADC1->SQR3 |= (channel << ADC_SQR3_SQ1_Pos);

	// Enable ADC1
	ADC1->CR2 |= ADC_CR2_ADON;

	// Start ADC conversion
	ADC1->CR2 |= ADC_CR2_SWSTART;
}

uint16_t readADCChannel(uint8_t channel) {
	// Start ADC conversion for the specified channel
	startADCConversion(channel);

	// Wait for conversion to complete
	while ((ADC1->SR & ADC_SR_EOC) == 0) {
	}

	// Read the ADC value
	uint16_t adcValue = ADC1->DR;

	return adcValue;
}

void updateMasterStatus(RDSS_t *rdss, volatile uint16_t *adcValues,
		uint32_t timeout) {
	if (HAL_GetTick() - rdss->lastUpdateTicks > timeout) {
		uint8_t index = 0;
		const uint8_t querySize = 5;
		memset(rdss->queryBuffer, 0, 14);
		rdss->queryBuffer[index++] = RDSS_START_MARK;
		rdss->queryBuffer[index++] = SERVER;
		rdss->queryBuffer[index++] = rdss->id;
		rdss->queryBuffer[index++] = QUERY_MASTER_STATUS;
		rdss->queryBuffer[index++] = 0x00;
		rdss->queryBuffer[index++] = querySize;
		rdss->queryBuffer[index++] = adcValues[0];
		rdss->queryBuffer[index++] = adcValues[0] >> 8;
		rdss->queryBuffer[index++] = adcValues[1];
		rdss->queryBuffer[index++] = adcValues[1] >> 8;
		rdss->queryBuffer[index++] = adcValues[2];
		index += setCrc(rdss->queryBuffer, index);
		rdss->queryBuffer[index++] = RDSS_END_MARK;
		rdss->lastUpdateTicks = HAL_GetTick();
	}
}

/* USER CODE END 4 */

void Error_Handler(void)
{
	__disable_irq();
	while (1) {
	}
}
